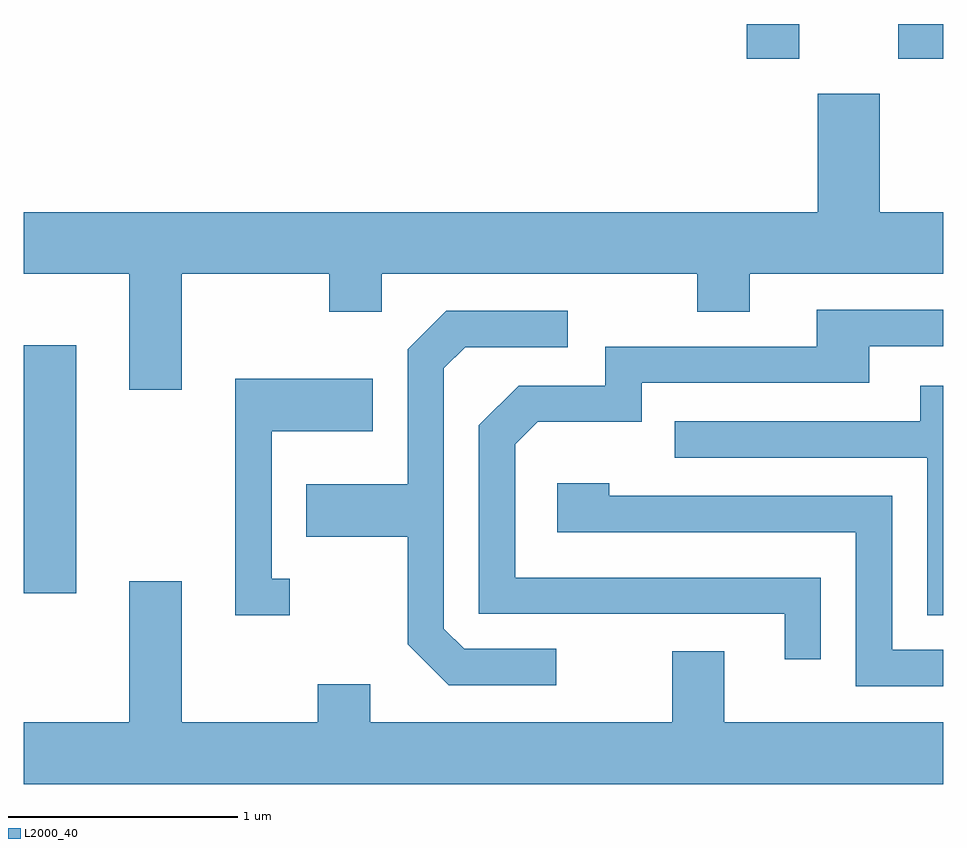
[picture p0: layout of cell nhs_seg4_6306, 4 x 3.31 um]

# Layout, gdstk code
import gdstk
lib = gdstk.Library(unit=1e-6, precision=1e-09)
def R(c, l, rs):  # rectangles x0, y0, x1, y1
    for r in rs: c.add(gdstk.rectangle(r[:2], r[2:], *l))
def P(c, l, *ps):  # polygons
    for p in ps: c.add(gdstk.Polygon(p, *l))
L2000_40 = (2000, 40)

nhs_seg4_6306 = lib.new_cell('nhs_seg4_6306')
R(nhs_seg4_6306, L2000_40, [(369.611,1355.506,369.839,1356.584), (372.756,1357.831,372.984,1357.982), (373.416,1357.831,373.611,1357.982)])
P(nhs_seg4_6306, L2000_40, [(370.299,1356.896),(370.941,1356.896),(370.941,1356.731),(371.169,1356.731),(371.169,1356.896),(372.541,1356.896),(372.541,1356.731),(372.769,1356.731),(372.769,1356.896),(373.611,1356.896),(373.611,1357.164),(373.334,1357.164),(373.334,1357.679),(373.066,1357.679),(373.066,1357.164),(369.611,1357.164),(369.611,1356.896),(370.071,1356.896),(370.071,1356.391),(370.299,1356.391)],
  [(373.079,1355.574),(371.749,1355.574),(371.749,1356.154),(371.847,1356.251),(372.299,1356.251),(372.299,1356.421),(373.289,1356.421),(373.289,1356.581),(373.611,1356.581),(373.611,1356.739),(373.061,1356.739),(373.061,1356.579),(372.141,1356.579),(372.141,1356.409),(371.764,1356.409),(371.591,1356.237),(371.591,1355.416),(372.921,1355.416),(372.921,1355.218),(373.079,1355.218)],
  [(371.928,1355.264),(371.527,1355.264),(371.439,1355.352),(371.439,1356.484),(371.532,1356.576),(371.978,1356.576),(371.978,1356.734),(371.449,1356.734),(371.281,1356.567),(371.281,1355.979),(370.841,1355.979),(370.841,1355.751),(371.281,1355.751),(371.281,1355.284),(371.459,1355.106),(371.928,1355.106)],
  [(370.768,1355.569),(370.689,1355.569),(370.689,1356.211),(371.129,1356.211),(371.129,1356.439),(370.531,1356.439),(370.531,1355.411),(370.768,1355.411)],
  [(373.611,1356.409),(373.511,1356.409),(373.511,1356.254),(372.443,1356.254),(372.443,1356.096),(373.541,1356.096),(373.541,1355.411),(373.611,1355.411)],
  [(373.611,1355.259),(373.389,1355.259),(373.389,1355.929),(372.159,1355.929),(372.159,1355.984),(371.931,1355.984),(371.931,1355.771),(373.231,1355.771),(373.231,1355.101),(373.611,1355.101)],
  [(373.611,1354.944),(372.659,1354.944),(372.659,1355.254),(372.431,1355.254),(372.431,1354.944),(371.119,1354.944),(371.119,1355.109),(370.891,1355.109),(370.891,1354.944),(370.299,1354.944),(370.299,1355.559),(370.071,1355.559),(370.071,1354.944),(369.611,1354.944),(369.611,1354.676),(373.611,1354.676)])

lib.write_gds('nhs_seg4_6306.gds')
